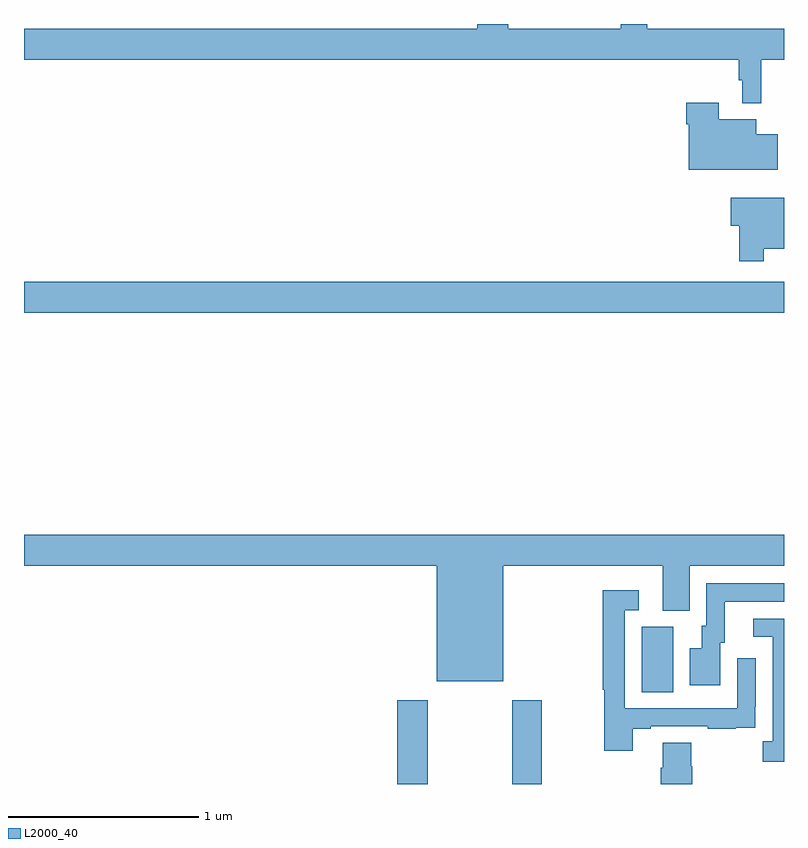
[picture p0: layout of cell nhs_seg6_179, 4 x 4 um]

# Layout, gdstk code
import gdstk
lib = gdstk.Library(unit=1e-6, precision=1e-09)
def R(c, l, rs):  # rectangles x0, y0, x1, y1
    for r in rs: c.add(gdstk.rectangle(r[:2], r[2:], *l))
def P(c, l, *ps):  # polygons
    for p in ps: c.add(gdstk.Polygon(p, *l))
L2000_40 = (2000, 40)

nhs_seg6_179 = lib.new_cell('nhs_seg6_179')
R(nhs_seg6_179, L2000_40, [(120.965,967.5,121.125,967.942), (121.57,967.5,121.725,967.942), (122.252,967.984,122.416,968.328), (119,969.98,123,970.144)])
P(nhs_seg6_179, L2000_40, [(122.879,971.312),(123,971.312),(123,971.476),(122.281,971.476),(122.281,971.5),(122.141,971.5),(122.141,971.476),(121.549,971.476),(121.549,971.5),(121.385,971.5),(121.385,971.476),(119,971.476),(119,971.312),(122.761,971.312),(122.761,971.205),(122.781,971.205),(122.781,971.084),(122.879,971.084)],
  [(122.968,970.921),(122.854,970.921),(122.854,970.999),(122.656,970.999),(122.656,971.086),(122.486,971.086),(122.486,970.973),(122.498,970.973),(122.498,970.733),(122.968,970.733)],
  [(122.893,970.316),(123,970.316),(123,970.585),(122.72,970.585),(122.72,970.438),(122.764,970.438),(122.764,970.251),(122.893,970.251)],
  [(121.522,968.648),(122.363,968.648),(122.363,968.413),(122.503,968.413),(122.503,968.648),(123,968.648),(123,968.812),(119,968.812),(119,968.648),(121.172,968.648),(121.172,968.042),(121.522,968.042)],
  [(122.665,968.244),(122.689,968.244),(122.689,968.46),(123,968.46),(123,968.556),(122.592,968.556),(122.592,968.334),(122.567,968.334),(122.567,968.215),(122.504,968.215),(122.504,968.019),(122.665,968.019)],
  [(122.203,967.791),(122.299,967.791),(122.299,967.803),(122.599,967.803),(122.599,967.791),(122.747,967.791),(122.747,967.797),(122.849,967.797),(122.849,967.906),(122.85,967.906),(122.85,968.161),(122.754,968.161),(122.754,967.899),(122.163,967.899),(122.163,968.415),(122.236,968.415),(122.236,968.521),(122.047,968.521),(122.047,967.996),(122.055,967.996),(122.055,967.674),(122.203,967.674)],
  [(123,968.37),(122.838,968.37),(122.838,968.274),(122.94,968.274),(122.94,967.726),(122.889,967.726),(122.889,967.616),(123,967.616)],
  [(122.516,967.593),(122.511,967.593),(122.511,967.718),(122.363,967.718),(122.363,967.586),(122.351,967.586),(122.351,967.5),(122.516,967.5)])

lib.write_gds('nhs_seg6_179.gds')
